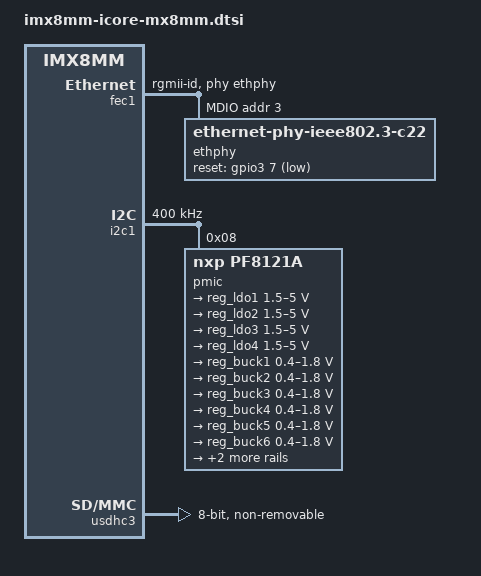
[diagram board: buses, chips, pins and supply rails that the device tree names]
// SPDX-License-Identifier: (GPL-2.0+ OR MIT)
/*
 * Copyright (c) 2018 NXP
 * Copyright (c) 2019 Engicam srl
 * Copyright (c) 2020 Amarula Solutons(India)
 */

/ {
	compatible = "engicam,icore-mx8mm", "fsl,imx8mm";
};

&A53_0 {
	cpu-supply = <&reg_buck4>;
};

&A53_1 {
	cpu-supply = <&reg_buck4>;
};

&A53_2 {
	cpu-supply = <&reg_buck4>;
};

&A53_3 {
	cpu-supply = <&reg_buck4>;
};

&fec1 {
	pinctrl-names = "default";
	pinctrl-0 = <&pinctrl_fec1>;
	phy-mode = "rgmii-id";
	phy-handle = <&ethphy>;

	mdio {
		#address-cells = <1>;
		#size-cells = <0>;

		ethphy: ethernet-phy@3 {
			compatible = "ethernet-phy-ieee802.3-c22";
			reg = <3>;
			reset-gpios = <&gpio3 7 GPIO_ACTIVE_LOW>;
			reset-assert-us = <10000>;
		};
	};
};

&i2c1 {
	clock-frequency = <400000>;
	pinctrl-names = "default";
	pinctrl-0 = <&pinctrl_i2c1>;
	status = "okay";

	pmic@8 {
		compatible = "nxp,pf8121a";
		reg = <0x08>;

		regulators {
			reg_ldo1: ldo1 {
				regulator-min-microvolt = <1500000>;
				regulator-max-microvolt = <5000000>;
				regulator-always-on;
				regulator-boot-on;
			};

			reg_ldo2: ldo2 {
				regulator-min-microvolt = <1500000>;
				regulator-max-microvolt = <5000000>;
				regulator-always-on;
				regulator-boot-on;
			};

			reg_ldo3: ldo3 {
				regulator-min-microvolt = <1500000>;
				regulator-max-microvolt = <5000000>;
				regulator-always-on;
				regulator-boot-on;
			};

			reg_ldo4: ldo4 {
				regulator-min-microvolt = <1500000>;
				regulator-max-microvolt = <5000000>;
				regulator-always-on;
				regulator-boot-on;
			};

			reg_buck1: buck1 {
				regulator-min-microvolt = <400000>;
				regulator-max-microvolt = <1800000>;
				regulator-always-on;
				regulator-boot-on;
			};

			reg_buck2: buck2 {
				regulator-min-microvolt = <400000>;
				regulator-max-microvolt = <1800000>;
				regulator-always-on;
				regulator-boot-on;
			};

			reg_buck3: buck3 {
				regulator-min-microvolt = <400000>;
				regulator-max-microvolt = <1800000>;
				regulator-always-on;
				regulator-boot-on;
			};

			reg_buck4: buck4 {
				regulator-min-microvolt = <400000>;
				regulator-max-microvolt = <1800000>;
				regulator-always-on;
				regulator-boot-on;
			};

			reg_buck5: buck5 {
				regulator-min-microvolt = <400000>;
				regulator-max-microvolt = <1800000>;
				regulator-always-on;
				regulator-boot-on;
			};

			reg_buck6: buck6 {
				regulator-min-microvolt = <400000>;
				regulator-max-microvolt = <1800000>;
				regulator-always-on;
				regulator-boot-on;
			};

			reg_buck7: buck7 {
				regulator-min-microvolt = <3300000>;
				regulator-max-microvolt = <3300000>;
				regulator-always-on;
				regulator-boot-on;
			};

			reg_vsnvs: vsnvs {
				regulator-min-microvolt = <1800000>;
				regulator-max-microvolt = <3300000>;
				regulator-always-on;
				regulator-boot-on;
			};
		};
	};
};

&iomuxc {
	pinctrl_fec1: fec1grp {
		fsl,pins = <
			MX8MM_IOMUXC_ENET_MDC_ENET1_MDC			0x3
			MX8MM_IOMUXC_ENET_MDIO_ENET1_MDIO		0x3
			MX8MM_IOMUXC_ENET_TD3_ENET1_RGMII_TD3		0x1f
			MX8MM_IOMUXC_ENET_TD2_ENET1_RGMII_TD2		0x1f
			MX8MM_IOMUXC_ENET_TD1_ENET1_RGMII_TD1		0x1f
			MX8MM_IOMUXC_ENET_TD0_ENET1_RGMII_TD0		0x1f
			MX8MM_IOMUXC_ENET_RD3_ENET1_RGMII_RD3		0x91
			MX8MM_IOMUXC_ENET_RD2_ENET1_RGMII_RD2		0x91
			MX8MM_IOMUXC_ENET_RD1_ENET1_RGMII_RD1		0x91
			MX8MM_IOMUXC_ENET_RD0_ENET1_RGMII_RD0		0x91
			MX8MM_IOMUXC_ENET_TXC_ENET1_RGMII_TXC		0x1f
			MX8MM_IOMUXC_ENET_RXC_ENET1_RGMII_RXC		0x91
			MX8MM_IOMUXC_ENET_RX_CTL_ENET1_RGMII_RX_CTL	0x91
			MX8MM_IOMUXC_ENET_TX_CTL_ENET1_RGMII_TX_CTL	0x1f
			MX8MM_IOMUXC_NAND_DATA01_GPIO3_IO7		0x19
		>;
	};

	pinctrl_i2c1: i2c1grp {
		fsl,pins = <
			MX8MM_IOMUXC_I2C1_SCL_I2C1_SCL		0x400001c3
			MX8MM_IOMUXC_I2C1_SDA_I2C1_SDA		0x400001c3
		>;
	};

	pinctrl_usdhc3: usdhc3grp {
		fsl,pins = <
			MX8MM_IOMUXC_NAND_WE_B_USDHC3_CLK               0x190
			MX8MM_IOMUXC_NAND_WP_B_USDHC3_CMD               0x1d0
			MX8MM_IOMUXC_NAND_DATA04_USDHC3_DATA0           0x1d0
			MX8MM_IOMUXC_NAND_DATA05_USDHC3_DATA1           0x1d0
			MX8MM_IOMUXC_NAND_DATA06_USDHC3_DATA2           0x1d0
			MX8MM_IOMUXC_NAND_DATA06_USDHC3_DATA2           0x1d0
			MX8MM_IOMUXC_NAND_DATA07_USDHC3_DATA3           0x1d0
			MX8MM_IOMUXC_NAND_RE_B_USDHC3_DATA4             0x1d0
			MX8MM_IOMUXC_NAND_CE2_B_USDHC3_DATA5            0x1d0
			MX8MM_IOMUXC_NAND_CE3_B_USDHC3_DATA6            0x1d0
			MX8MM_IOMUXC_NAND_CLE_USDHC3_DATA7              0x1d0
			MX8MM_IOMUXC_NAND_CE1_B_USDHC3_STROBE           0x190
		>;
	};

	pinctrl_usdhc3_100mhz: usdhc3-100mhzgrp {
		fsl,pins = <
			MX8MM_IOMUXC_NAND_WE_B_USDHC3_CLK               0x194
			MX8MM_IOMUXC_NAND_WP_B_USDHC3_CMD               0x1d4
			MX8MM_IOMUXC_NAND_DATA04_USDHC3_DATA0           0x1d4
			MX8MM_IOMUXC_NAND_DATA05_USDHC3_DATA1           0x1d4
			MX8MM_IOMUXC_NAND_DATA06_USDHC3_DATA2           0x1d4
			MX8MM_IOMUXC_NAND_DATA07_USDHC3_DATA3           0x1d4
			MX8MM_IOMUXC_NAND_RE_B_USDHC3_DATA4             0x1d4
			MX8MM_IOMUXC_NAND_CE2_B_USDHC3_DATA5            0x1d4
			MX8MM_IOMUXC_NAND_CE3_B_USDHC3_DATA6            0x1d4
			MX8MM_IOMUXC_NAND_CLE_USDHC3_DATA7              0x1d4
			MX8MM_IOMUXC_NAND_CE1_B_USDHC3_STROBE           0x194
		>;
	};

	pinctrl_usdhc3_200mhz: usdhc3-200mhzgrp {
		fsl,pins = <
			MX8MM_IOMUXC_NAND_WE_B_USDHC3_CLK               0x196
			MX8MM_IOMUXC_NAND_WP_B_USDHC3_CMD               0x1d6
			MX8MM_IOMUXC_NAND_DATA04_USDHC3_DATA0           0x1d6
			MX8MM_IOMUXC_NAND_DATA05_USDHC3_DATA1           0x1d6
			MX8MM_IOMUXC_NAND_DATA06_USDHC3_DATA2           0x1d6
			MX8MM_IOMUXC_NAND_DATA07_USDHC3_DATA3           0x1d6
			MX8MM_IOMUXC_NAND_RE_B_USDHC3_DATA4             0x1d6
			MX8MM_IOMUXC_NAND_CE2_B_USDHC3_DATA5            0x1d6
			MX8MM_IOMUXC_NAND_CE3_B_USDHC3_DATA6            0x1d6
			MX8MM_IOMUXC_NAND_CLE_USDHC3_DATA7              0x1d6
			MX8MM_IOMUXC_NAND_CE1_B_USDHC3_STROBE           0x196
		>;
	};
};

/* eMMC */
&usdhc3 {
	pinctrl-names = "default", "state_100mhz", "state_200mhz";
	pinctrl-0 = <&pinctrl_usdhc3>;
	pinctrl-1 = <&pinctrl_usdhc3_100mhz>;
	pinctrl-2 = <&pinctrl_usdhc3_200mhz>;
	bus-width = <8>;
	non-removable;
	status = "okay";
};
